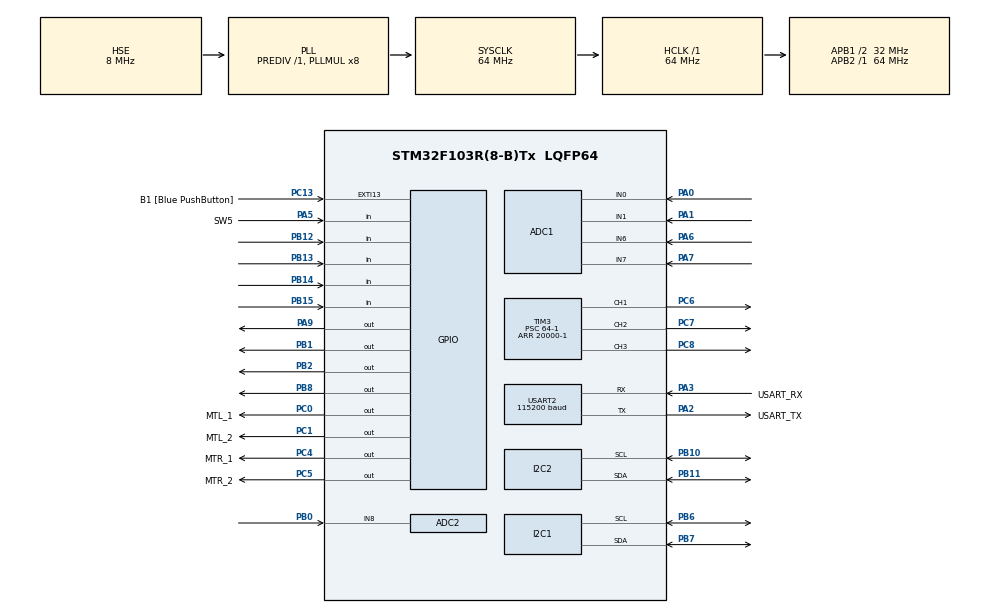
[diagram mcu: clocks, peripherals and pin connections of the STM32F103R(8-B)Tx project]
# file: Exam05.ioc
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ADC1.Channel-0\#ChannelRegularConversion=ADC_CHANNEL_6
ADC1.Channel-1\#ChannelRegularConversion=ADC_CHANNEL_7
ADC1.Channel-2\#ChannelRegularConversion=ADC_CHANNEL_0
ADC1.Channel-3\#ChannelRegularConversion=ADC_CHANNEL_1
ADC1.ContinuousConvMode=ENABLE
ADC1.NbrOfConversion=4
ADC1.NbrOfConversionFlag=1
ADC1.Rank-0\#ChannelRegularConversion=1
ADC1.Rank-1\#ChannelRegularConversion=2
ADC1.Rank-2\#ChannelRegularConversion=3
ADC1.Rank-3\#ChannelRegularConversion=4
ADC1.SamplingTime-0\#ChannelRegularConversion=ADC_SAMPLETIME_239CYCLES_5
ADC1.SamplingTime-1\#ChannelRegularConversion=ADC_SAMPLETIME_239CYCLES_5
ADC1.SamplingTime-2\#ChannelRegularConversion=ADC_SAMPLETIME_239CYCLES_5
ADC1.SamplingTime-3\#ChannelRegularConversion=ADC_SAMPLETIME_239CYCLES_5
ADC1.master=1
ADC2.Channel-0\#ChannelRegularConversion=ADC_CHANNEL_8
ADC2.ContinuousConvMode=ENABLE
ADC2.NbrOfConversionFlag=1
ADC2.Rank-0\#ChannelRegularConversion=1
ADC2.SamplingTime-0\#ChannelRegularConversion=ADC_SAMPLETIME_239CYCLES_5
Mcu.Family=STM32F1
Mcu.Name=STM32F103R(8-B)Tx
Mcu.Package=LQFP64
NVIC.EXTI15_10_IRQn=true\:0\:0\:false\:false\:true\:true\:true\:true
NVIC.PriorityGroup=NVIC_PRIORITYGROUP_4
NVIC.RTC_IRQn=true\:0\:0\:false\:false\:true\:true\:true\:true
NVIC.TIM4_IRQn=true\:0\:0\:false\:false\:true\:true\:true\:true
PA0-WKUP.Signal=ADCx_IN0
PA1.Signal=ADCx_IN1
PA13.GPIO_Label=TMS
PA13.Mode=Serial_Wire
PA13.Signal=SYS_JTMS-SWDIO
PA14.GPIO_Label=TCK
PA14.Mode=Serial_Wire
PA14.Signal=SYS_JTCK-SWCLK
PA2.GPIO_Label=USART_TX
PA2.GPIO_Mode=GPIO_MODE_AF_PP
PA2.GPIO_PuPd=GPIO_NOPULL
PA2.GPIO_Speed=GPIO_SPEED_FREQ_LOW
PA2.Mode=Asynchronous
PA2.Signal=USART2_TX
PA3.GPIO_Label=USART_RX
PA3.GPIO_Mode=GPIO_MODE_AF_PP
PA3.GPIO_PuPd=GPIO_NOPULL
PA3.GPIO_Speed=GPIO_SPEED_FREQ_LOW
PA3.Mode=Asynchronous
PA3.Signal=USART2_RX
PA5.GPIO_Label=SW5
PA5.Signal=GPIO_Input
PA6.Signal=ADCx_IN6
PA7.Signal=ADCx_IN7
PA9.Signal=GPIO_Output
PB0.Signal=ADCx_IN8
PB1.Signal=GPIO_Output
PB10.Mode=I2C
PB10.Signal=I2C2_SCL
PB11.Mode=I2C
PB11.Signal=I2C2_SDA
PB12.Signal=GPIO_Input
PB13.Signal=GPIO_Input
PB14.Signal=GPIO_Input
PB15.Signal=GPIO_Input
PB2.Signal=GPIO_Output
PB3.GPIO_Label=SWO
PB3.Signal=SYS_JTDO-TRACESWO
PB6.Mode=I2C
PB6.Signal=I2C1_SCL
PB7.Mode=I2C
PB7.Signal=I2C1_SDA
PB8.Signal=GPIO_Output
PC0.GPIO_Label=MTL_1
PC0.Signal=GPIO_Output
PC1.GPIO_Label=MTL_2
PC1.Signal=GPIO_Output
PC13-TAMPER-RTC.GPIO_Label=B1 [Blue PushButton]
PC13-TAMPER-RTC.GPIO_PuPd=GPIO_NOPULL
PC13-TAMPER-RTC.Signal=GPXTI13
PC14-OSC32_IN.Mode=LSE-External-Oscillator
PC14-OSC32_IN.Signal=RCC_OSC32_IN
PC15-OSC32_OUT.Mode=LSE-External-Oscillator
PC15-OSC32_OUT.Signal=RCC_OSC32_OUT
PC4.GPIO_Label=MTR_1
PC4.Signal=GPIO_Output
PC5.GPIO_Label=MTR_2
PC5.Signal=GPIO_Output
PC6.Signal=S_TIM3_CH1
PC7.Signal=S_TIM3_CH2
PC8.Signal=S_TIM3_CH3
PD0-OSC_IN.Mode=HSE-External-Clock-Source
PD0-OSC_IN.Signal=RCC_OSC_IN
PD1-OSC_OUT.Mode=HSE-External-Clock-Source
PD1-OSC_OUT.Signal=RCC_OSC_OUT
ProjectManager.HeapSize=0x200
ProjectManager.StackSize=0x400
ProjectManager.TargetToolchain=STM32CubeIDE
RCC.ADCPresc=RCC_ADCPCLK2_DIV8
RCC.AHBFreq_Value=64000000
RCC.APB1CLKDivider=RCC_HCLK_DIV2
RCC.APB1Freq_Value=32000000
RCC.APB1TimFreq_Value=64000000
RCC.APB2Freq_Value=64000000
RCC.APB2TimFreq_Value=64000000
RCC.HCLKFreq_Value=64000000
RCC.PLLMUL=RCC_PLL_MUL8
RCC.PLLSourceVirtual=RCC_PLLSOURCE_HSE
RCC.RTCClockSelection=RCC_RTCCLKSOURCE_LSE
RCC.SYSCLKFreq_VALUE=64000000
RCC.SYSCLKSource=RCC_SYSCLKSOURCE_PLLCLK
RCC.USBFreq_Value=64000000
RTC.Format=RTC_FORMAT_BIN
SH.ADCx_IN0.0=ADC1_IN0,IN0
SH.ADCx_IN1.0=ADC1_IN1,IN1
SH.ADCx_IN6.0=ADC1_IN6,IN6
SH.ADCx_IN7.0=ADC1_IN7,IN7
SH.ADCx_IN8.0=ADC2_IN8,IN8
SH.S_TIM3_CH1.0=TIM3_CH1,PWM Generation1 CH1
SH.S_TIM3_CH2.0=TIM3_CH2,PWM Generation2 CH2
SH.S_TIM3_CH3.0=TIM3_CH3,PWM Generation3 CH3
TIM2.Prescaler=64-1
TIM3.Channel-PWM\ Generation1\ CH1=TIM_CHANNEL_1
TIM3.Channel-PWM\ Generation2\ CH2=TIM_CHANNEL_2
TIM3.Channel-PWM\ Generation3\ CH3=TIM_CHANNEL_3
TIM3.Period=20000-1
TIM3.Prescaler=64-1
TIM4.Channel-Output\ Compare1\ No\ Output=TIM_CHANNEL_1
TIM4.Period=10000-1
TIM4.Prescaler=6400-1
USART2.BaudRate=115200
USART2.VirtualMode=VM_ASYNC
VP_RTC_VS_RTC_Activate.Mode=RTC_Enabled
VP_TIM2_VS_ClockSourceINT.Mode=Internal
VP_TIM3_VS_ClockSourceINT.Mode=Internal
VP_TIM4_VS_ClockSourceINT.Mode=Internal
VP_TIM4_VS_no_output1.Mode=Output Compare1 No Output
board=NUCLEO-F103RB

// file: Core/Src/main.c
/* USER CODE BEGIN Header */
/**
 ******************************************************************************
 * @file           : main.c
 * @brief          : Main program body
 ******************************************************************************
 * @attention
 *
 * Copyright (c) 2022 STMicroelectronics.
 * All rights reserved.
 *
 * This software is licensed under terms that can be found in the LICENSE file
 * in the root directory of this software component.
 * If no LICENSE file comes with this software, it is provided AS-IS.
 *
 ******************************************************************************
 */
/* USER CODE END Header */
#include "main.h"

/* USER CODE BEGIN Includes */
#include "stdio.h"
#include "i2c-lcd.h"
/* USER CODE END Includes */

ADC_HandleTypeDef hadc1;
ADC_HandleTypeDef hadc2;

I2C_HandleTypeDef hi2c1;
I2C_HandleTypeDef hi2c2;

RTC_HandleTypeDef hrtc;

TIM_HandleTypeDef htim2;
TIM_HandleTypeDef htim3;
TIM_HandleTypeDef htim4;

UART_HandleTypeDef huart2;

/* USER CODE BEGIN PV */
uint32_t joy_value[4];
uint32_t sv_value1 = 0;
uint32_t sv_value2 = 0;
uint32_t sv_value3 = 0;

uint8_t RH_integral;
uint8_t RH_decimal;
uint8_t T_inregral;
uint8_t T_decimal;
uint8_t CheckSUM;

char chr_RH_integral[5];
char chr_RH_decimal[5];
char chr_T_inregral[5];
char chr_T_decimal[5];

RTC_TimeTypeDef Time;
RTC_DateTypeDef Date;

char dateBuffer[5]; //YYYY-MM-DD
char timeBuffer[8];  //hh:mm:ss

float water = 0;

/* USER CODE END PV */

void SystemClock_Config(void);
static void MX_GPIO_Init(void);
static void MX_USART2_UART_Init(void);
static void MX_ADC1_Init(void);
static void MX_TIM3_Init(void);
static void MX_TIM2_Init(void);
static void MX_TIM4_Init(void);
static void MX_I2C1_Init(void);
static void MX_RTC_Init(void);
static void MX_I2C2_Init(void);
static void MX_ADC2_Init(void);
/* USER CODE BEGIN PFP */
#ifdef __GNUC__
/* With GCC, small printf (option LD Linker->Libraries->Small printf
 set to 'Yes') calls __io_putchar() */
#define PUTCHAR_PROTOTYPE int __io_putchar(int ch)
#else
#define PUTCHAR_PROTOTYPE int fputc(int ch, FILE *f)
#endif /* __GNUC__ */

PUTCHAR_PROTOTYPE {
	/* Place your implementation of fputc here */
	/* e.g. write a character to the USART1 and Loop until the end of transmission */
	HAL_UART_Transmit(&huart2, (uint8_t*) &ch, 1, 0xFFFF);

	return ch;
}

void us_delay(uint32_t delay) {
	//__HAL_TIM_SET_COUNTER(&htim2, 0);
	TIM2->CNT = 0;
	//while(__HAL_TIM_GET_COUNTER(&htim2) < delay);
	while (TIM2->CNT < delay)
		;
}

void Set_Pin_Output(GPIO_TypeDef *GPIOx, uint16_t GPIO_Pin) {
	GPIO_InitTypeDef GPIO_InitStruct = { 0 };
	GPIO_InitStruct.Pin = GPIO_Pin;
	GPIO_InitStruct.Mode = GPIO_MODE_OUTPUT_PP;
	GPIO_InitStruct.Speed = GPIO_SPEED_FREQ_LOW;
	HAL_GPIO_Init(GPIOx, &GPIO_InitStruct);
	//GPIOB->CRL |= ~(1 << 3 | 1 << 1 | 1 << 0);
	//GPIOB->CRL &= 1 << 2;
}

void Set_Pin_Input(GPIO_TypeDef *GPIOx, uint16_t GPIO_Pin) {
	GPIO_InitTypeDef GPIO_InitStruct = { 0 };
	GPIO_InitStruct.Pin = GPIO_Pin;
	GPIO_InitStruct.Mode = GPIO_MODE_INPUT;
	GPIO_InitStruct.Pull = GPIO_PULLUP;
	HAL_GPIO_Init(GPIOx, &GPIO_InitStruct);
	//GPIOB->CRL &= ~(1 << 2 | 1 << 1 | 1 << 0);
	//GPIOB->CRL |= 1 << 3;
}

void DHT11_Start(void) {
	Set_Pin_Output(GPIOA, GPIO_PIN_9);
	HAL_GPIO_WritePin(GPIOA, GPIO_PIN_9, GPIO_PIN_RESET);
	//HAL_Delay(18);
	us_delay(18000);
	HAL_GPIO_WritePin(GPIOA, GPIO_PIN_9, GPIO_PIN_SET);
	us_delay(20);
	Set_Pin_Input(GPIOA, GPIO_PIN_9);
}

uint8_t DHT11_Check_Response(void) {
	uint8_t Response = 0;
	us_delay(40);
	if (!(HAL_GPIO_ReadPin(GPIOA, GPIO_PIN_9))) {
		us_delay(80);
		if ((HAL_GPIO_ReadPin(GPIOA, GPIO_PIN_9)))
			Response = 1;
		else
			Response = -1;
	}
	while ((HAL_GPIO_ReadPin(GPIOA, GPIO_PIN_9)))
		;

	return Response;
}

uint8_t DHT11_Read(void) {
	uint8_t data;
	for (uint8_t i = 0; i < 8; i++) {
		while (!(HAL_GPIO_ReadPin(GPIOA, GPIO_PIN_9)))
			;
		us_delay(40);
		if (!(HAL_GPIO_ReadPin(GPIOA, GPIO_PIN_9))) {
			data = (data << 1);
		} else
			data = (data << 1) + 1;
		while ((HAL_GPIO_ReadPin(GPIOA, GPIO_PIN_9)))
			;
	}
	return data;
}

void set_Date_Time() {
	Date.WeekDay = 1;  // 1~7
	Date.Month = 5;  // 1~12
	Date.Date = 2;  // 1~31
	Date.Year = 22;  // 0~99
	while (HAL_RTC_SetDate(&hrtc, &Date, RTC_FORMAT_BIN) != HAL_OK)
		;
	Time.Hours = 16;  // 0~23
	Time.Minutes = 10;  // 0~59
	Time.Seconds = 00;   // 0~59
	while (HAL_RTC_SetTime(&hrtc, &Time, RTC_FORMAT_BIN) != HAL_OK)
		;
}
/* USER CODE END PFP */

int main(void) {

	/* MCU Configuration--------------------------------------------------------*/

	/* Reset of all peripherals, Initializes the Flash interface and the Systick. */
	HAL_Init();

	/* Configure the system clock */
	SystemClock_Config();

	/* Initialize all configured peripherals */
	MX_GPIO_Init();
	MX_USART2_UART_Init();
	MX_ADC1_Init();
	MX_TIM3_Init();
	MX_TIM2_Init();
	MX_TIM4_Init();
	MX_I2C1_Init();
	MX_RTC_Init();
	MX_I2C2_Init();
	MX_ADC2_Init();
	/* USER CODE BEGIN 2 */
	HAL_TIM_PWM_Start(&htim3, TIM_CHANNEL_1);
	HAL_TIM_PWM_Start(&htim3, TIM_CHANNEL_2);
	HAL_TIM_PWM_Start(&htim3, TIM_CHANNEL_3);
	HAL_TIM_Base_Start(&htim2);
	HAL_TIM_Base_Start_IT(&htim4);
	//__HAL_UART_ENABLE_IT(&huart2, UART_IT_RXNE);
	set_Date_Time();

	lcd_init();
	/* USER CODE END 2 */

	/* Infinite loop */
	/* USER CODE BEGIN WHILE */
	while (1) {
		HAL_ADC_Start(&hadc1);
		us_delay(10000);

		for (int i = 0; i < 4; i++) {

			HAL_ADC_PollForConversion(&hadc1, 10);
			joy_value[i] = HAL_ADC_GetValue(&hadc1);
			us_delay(5000);
		}

		HAL_ADC_Stop(&hadc1);

		uint32_t joy1x_value = joy_value[3];
		uint32_t joy1y_value = joy_value[0];
		uint32_t joy2x_value = joy_value[2];
		uint32_t joy2y_value = joy_value[1];

		/*printf(
		 "1X : %ld, 1Y : %ld 2X : %ld, 2Y : %ld sv1 : %ld sv2 : %ld sv3 : %ld  \r\n",
		 joy1x_value, joy1y_value, joy2x_value, joy2y_value, sv_value1,
		 sv_value2, sv_value3);*/

		us_delay(10000);

		HAL_ADC_Start(&hadc2);
		water = HAL_ADC_GetValue(&hadc2);

		if (water > 3000) {
			HAL_GPIO_WritePin(GPIOB, GPIO_PIN_8, 1);
		} else if (water < 3000) {
			HAL_GPIO_WritePin(GPIOB, GPIO_PIN_8, 0);
		} else {
			HAL_GPIO_WritePin(GPIOB, GPIO_PIN_8, 0);
		}

		if (16 < sv_value1 && 41 > sv_value1) {
			if (joy1y_value < 300) {
				sv_value1++;
				//HAL_Delay(10);
				__HAL_TIM_SET_COMPARE(&htim3, TIM_CHANNEL_1, sv_value1 * 50);

			} else if (joy1y_value > 4000) {
				sv_value1--;
				//HAL_Delay(10);
				__HAL_TIM_SET_COMPARE(&htim3, TIM_CHANNEL_1, sv_value1 * 50);
			}
		} else if (16 >= sv_value1)
			sv_value1++;
		else if (41 <= sv_value1)
			sv_value1--;

		if (17 < sv_value2 && 46 > sv_value2) {
			if (joy1x_value < 300) {
				sv_value2++;
				//HAL_Delay(10);
				__HAL_TIM_SET_COMPARE(&htim3, TIM_CHANNEL_2, sv_value2 * 50);

			} else if (joy1x_value > 4000) {
				sv_value2--;
				//HAL_Delay(10);
				__HAL_TIM_SET_COMPARE(&htim3, TIM_CHANNEL_2, sv_value2 * 50);
			}
		} else if (17 >= sv_value2)
			sv_value2++;
		else if (46 <= sv_value2)
			sv_value2--;

		if (14 < sv_value3 && 54 > sv_value3) {
			if (joy2x_value < 300) {
				sv_value3++;
				//HAL_Delay(10);
				__HAL_TIM_SET_COMPARE(&htim3, TIM_CHANNEL_3, sv_value3 * 50);

			} else if (joy2x_value > 4000) {
				sv_value3--;
				//HAL_Delay(10);
				__HAL_TIM_SET_COMPARE(&htim3, TIM_CHANNEL_3, sv_value3 * 50);
			}
		} else if (14 >= sv_value3)
			sv_value3++;
		else if (54 <= sv_value3)
			sv_value3--;

		if (HAL_GPIO_ReadPin(GPIOB, GPIO_PIN_15) == 0) {
			HAL_GPIO_WritePin(GPIOC, MTL_1_Pin, 1);
			HAL_GPIO_WritePin(GPIOC, MTR_1_Pin, 1);
		} else if (HAL_GPIO_ReadPin(GPIOB, GPIO_PIN_14) == 0) {
			HAL_GPIO_WritePin(GPIOC, MTL_2_Pin, 1);
			HAL_GPIO_WritePin(GPIOC, MTR_2_Pin, 1);
		} else if (HAL_GPIO_ReadPin(GPIOB, GPIO_PIN_13) == 0) {
			HAL_GPIO_WritePin(GPIOC, MTL_2_Pin, 1);
			HAL_GPIO_WritePin(GPIOC, MTR_1_Pin, 1);
		} else if (HAL_GPIO_ReadPin(GPIOB, GPIO_PIN_12) == 0) {
			HAL_GPIO_WritePin(GPIOC, MTL_1_Pin, 1);
			HAL_GPIO_WritePin(GPIOC, MTR_2_Pin, 1);
		} else {
			HAL_GPIO_WritePin(GPIOC, MTL_1_Pin, 0);
			HAL_GPIO_WritePin(GPIOC, MTR_1_Pin, 0);
			HAL_GPIO_WritePin(GPIOC, MTL_2_Pin, 0);
			HAL_GPIO_WritePin(GPIOC, MTR_2_Pin, 0);
		}

		/* USER CODE END WHILE */

	}
}

void SystemClock_Config(void) {
	RCC_OscInitTypeDef RCC_OscInitStruct = { 0 };
	RCC_ClkInitTypeDef RCC_ClkInitStruct = { 0 };
	RCC_PeriphCLKInitTypeDef PeriphClkInit = { 0 };

	/** Initializes the RCC Oscillators according to the specified parameters
	 * in the RCC_OscInitTypeDef structure.
	 */
	RCC_OscInitStruct.OscillatorType = RCC_OSCILLATORTYPE_HSE
			| RCC_OSCILLATORTYPE_LSE;
	RCC_OscInitStruct.HSEState = RCC_HSE_BYPASS;
	RCC_OscInitStruct.HSEPredivValue = RCC_HSE_PREDIV_DIV1;
	RCC_OscInitStruct.LSEState = RCC_LSE_ON;
	RCC_OscInitStruct.HSIState = RCC_HSI_ON;
	RCC_OscInitStruct.PLL.PLLState = RCC_PLL_ON;
	RCC_OscInitStruct.PLL.PLLSource = RCC_PLLSOURCE_HSE;
	RCC_OscInitStruct.PLL.PLLMUL = RCC_PLL_MUL8;
	if (HAL_RCC_OscConfig(&RCC_OscInitStruct) != HAL_OK) {
		Error_Handler();
	}

	/** Initializes the CPU, AHB and APB buses clocks
	 */
	RCC_ClkInitStruct.ClockType = RCC_CLOCKTYPE_HCLK | RCC_CLOCKTYPE_SYSCLK
			| RCC_CLOCKTYPE_PCLK1 | RCC_CLOCKTYPE_PCLK2;
	RCC_ClkInitStruct.SYSCLKSource = RCC_SYSCLKSOURCE_PLLCLK;
	RCC_ClkInitStruct.AHBCLKDivider = RCC_SYSCLK_DIV1;
	RCC_ClkInitStruct.APB1CLKDivider = RCC_HCLK_DIV2;
	RCC_ClkInitStruct.APB2CLKDivider = RCC_HCLK_DIV1;

	if (HAL_RCC_ClockConfig(&RCC_ClkInitStruct, FLASH_LATENCY_2) != HAL_OK) {
		Error_Handler();
	}
	PeriphClkInit.PeriphClockSelection = RCC_PERIPHCLK_RTC | RCC_PERIPHCLK_ADC;
	PeriphClkInit.RTCClockSelection = RCC_RTCCLKSOURCE_LSE;
	PeriphClkInit.AdcClockSelection = RCC_ADCPCLK2_DIV8;
	if (HAL_RCCEx_PeriphCLKConfig(&PeriphClkInit) != HAL_OK) {
		Error_Handler();
	}
}

static void MX_ADC1_Init(void) {

	ADC_ChannelConfTypeDef sConfig = { 0 };

	/** Common config
	 */
	hadc1.Instance = ADC1;
	hadc1.Init.ScanConvMode = ADC_SCAN_ENABLE;
	hadc1.Init.ContinuousConvMode = ENABLE;
	hadc1.Init.DiscontinuousConvMode = DISABLE;
	hadc1.Init.ExternalTrigConv = ADC_SOFTWARE_START;
	hadc1.Init.DataAlign = ADC_DATAALIGN_RIGHT;
	hadc1.Init.NbrOfConversion = 4;
	if (HAL_ADC_Init(&hadc1) != HAL_OK) {
		Error_Handler();
	}

	/** Configure Regular Channel
	 */
	sConfig.Channel = ADC_CHANNEL_6;
	sConfig.Rank = ADC_REGULAR_RANK_1;
	sConfig.SamplingTime = ADC_SAMPLETIME_239CYCLES_5;
	if (HAL_ADC_ConfigChannel(&hadc1, &sConfig) != HAL_OK) {
		Error_Handler();
	}

	/** Configure Regular Channel
	 */
	sConfig.Channel = ADC_CHANNEL_7;
	sConfig.Rank = ADC_REGULAR_RANK_2;
	if (HAL_ADC_ConfigChannel(&hadc1, &sConfig) != HAL_OK) {
		Error_Handler();
	}

	/** Configure Regular Channel
	 */
	sConfig.Channel = ADC_CHANNEL_0;
	sConfig.Rank = ADC_REGULAR_RANK_3;
	if (HAL_ADC_ConfigChannel(&hadc1, &sConfig) != HAL_OK) {
		Error_Handler();
	}

	/** Configure Regular Channel
	 */
	sConfig.Channel = ADC_CHANNEL_1;
	sConfig.Rank = ADC_REGULAR_RANK_4;
	if (HAL_ADC_ConfigChannel(&hadc1, &sConfig) != HAL_OK) {
		Error_Handler();
	}

}

static void MX_ADC2_Init(void) {

	ADC_ChannelConfTypeDef sConfig = { 0 };

	/** Common config
	 */
	hadc2.Instance = ADC2;
	hadc2.Init.ScanConvMode = ADC_SCAN_DISABLE;
	hadc2.Init.ContinuousConvMode = ENABLE;
	hadc2.Init.DiscontinuousConvMode = DISABLE;
	hadc2.Init.ExternalTrigConv = ADC_SOFTWARE_START;
	hadc2.Init.DataAlign = ADC_DATAALIGN_RIGHT;
	hadc2.Init.NbrOfConversion = 1;
	if (HAL_ADC_Init(&hadc2) != HAL_OK) {
		Error_Handler();
	}

	/** Configure Regular Channel
	 */
	sConfig.Channel = ADC_CHANNEL_8;
	sConfig.Rank = ADC_REGULAR_RANK_1;
	sConfig.SamplingTime = ADC_SAMPLETIME_239CYCLES_5;
	if (HAL_ADC_ConfigChannel(&hadc2, &sConfig) != HAL_OK) {
		Error_Handler();
	}

}

static void MX_I2C1_Init(void) {

	hi2c1.Instance = I2C1;
	hi2c1.Init.ClockSpeed = 100000;
	hi2c1.Init.DutyCycle = I2C_DUTYCYCLE_2;
	hi2c1.Init.OwnAddress1 = 0;
	hi2c1.Init.AddressingMode = I2C_ADDRESSINGMODE_7BIT;
	hi2c1.Init.DualAddressMode = I2C_DUALADDRESS_DISABLE;
	hi2c1.Init.OwnAddress2 = 0;
	hi2c1.Init.GeneralCallMode = I2C_GENERALCALL_DISABLE;
	hi2c1.Init.NoStretchMode = I2C_NOSTRETCH_DISABLE;
	if (HAL_I2C_Init(&hi2c1) != HAL_OK) {
		Error_Handler();
	}

}

static void MX_I2C2_Init(void) {

	hi2c2.Instance = I2C2;
	hi2c2.Init.ClockSpeed = 100000;
	hi2c2.Init.DutyCycle = I2C_DUTYCYCLE_2;
	hi2c2.Init.OwnAddress1 = 0;
	hi2c2.Init.AddressingMode = I2C_ADDRESSINGMODE_7BIT;
	hi2c2.Init.DualAddressMode = I2C_DUALADDRESS_DISABLE;
	hi2c2.Init.OwnAddress2 = 0;
	hi2c2.Init.GeneralCallMode = I2C_GENERALCALL_DISABLE;
	hi2c2.Init.NoStretchMode = I2C_NOSTRETCH_DISABLE;
	if (HAL_I2C_Init(&hi2c2) != HAL_OK) {
		Error_Handler();
	}

}

static void MX_RTC_Init(void) {

	/** Initialize RTC Only
	 */
	hrtc.Instance = RTC;
	hrtc.Init.AsynchPrediv = RTC_AUTO_1_SECOND;
	hrtc.Init.OutPut = RTC_OUTPUTSOURCE_ALARM;
	if (HAL_RTC_Init(&hrtc) != HAL_OK) {
		Error_Handler();
	}

}

static void MX_TIM2_Init(void) {

	TIM_ClockConfigTypeDef sClockSourceConfig = { 0 };
	TIM_MasterConfigTypeDef sMasterConfig = { 0 };

	htim2.Instance = TIM2;
	htim2.Init.Prescaler = 64 - 1;
	htim2.Init.CounterMode = TIM_COUNTERMODE_UP;
	htim2.Init.Period = 65535;
	htim2.Init.ClockDivision = TIM_CLOCKDIVISION_DIV1;
	htim2.Init.AutoReloadPreload = TIM_AUTORELOAD_PRELOAD_DISABLE;
	if (HAL_TIM_Base_Init(&htim2) != HAL_OK) {
		Error_Handler();
	}
	sClockSourceConfig.ClockSource = TIM_CLOCKSOURCE_INTERNAL;
	if (HAL_TIM_ConfigClockSource(&htim2, &sClockSourceConfig) != HAL_OK) {
		Error_Handler();
	}
	sMasterConfig.MasterOutputTrigger = TIM_TRGO_RESET;
	sMasterConfig.MasterSlaveMode = TIM_MASTERSLAVEMODE_DISABLE;
	if (HAL_TIMEx_MasterConfigSynchronization(&htim2, &sMasterConfig)
			!= HAL_OK) {
		Error_Handler();
	}

}

static void MX_TIM3_Init(void) {

	TIM_ClockConfigTypeDef sClockSourceConfig = { 0 };
	TIM_MasterConfigTypeDef sMasterConfig = { 0 };
	TIM_OC_InitTypeDef sConfigOC = { 0 };

	htim3.Instance = TIM3;
	htim3.Init.Prescaler = 64 - 1;
	htim3.Init.CounterMode = TIM_COUNTERMODE_UP;
	htim3.Init.Period = 20000 - 1;
	htim3.Init.ClockDivision = TIM_CLOCKDIVISION_DIV1;
	htim3.Init.AutoReloadPreload = TIM_AUTORELOAD_PRELOAD_DISABLE;
	if (HAL_TIM_Base_Init(&htim3) != HAL_OK) {
		Error_Handler();
	}
	sClockSourceConfig.ClockSource = TIM_CLOCKSOURCE_INTERNAL;
	if (HAL_TIM_ConfigClockSource(&htim3, &sClockSourceConfig) != HAL_OK) {
		Error_Handler();
	}
	if (HAL_TIM_PWM_Init(&htim3) != HAL_OK) {
		Error_Handler();
	}
	sMasterConfig.MasterOutputTrigger = TIM_TRGO_RESET;
	sMasterConfig.MasterSlaveMode = TIM_MASTERSLAVEMODE_DISABLE;
	if (HAL_TIMEx_MasterConfigSynchronization(&htim3, &sMasterConfig)
			!= HAL_OK) {
		Error_Handler();
	}
	sConfigOC.OCMode = TIM_OCMODE_PWM1;
	sConfigOC.Pulse = 0;
	sConfigOC.OCPolarity = TIM_OCPOLARITY_HIGH;
	sConfigOC.OCFastMode = TIM_OCFAST_DISABLE;
	if (HAL_TIM_PWM_ConfigChannel(&htim3, &sConfigOC, TIM_CHANNEL_1)
			!= HAL_OK) {
		Error_Handler();
	}
	if (HAL_TIM_PWM_ConfigChannel(&htim3, &sConfigOC, TIM_CHANNEL_2)
			!= HAL_OK) {
		Error_Handler();
	}
	if (HAL_TIM_PWM_ConfigChannel(&htim3, &sConfigOC, TIM_CHANNEL_3)
			!= HAL_OK) {
		Error_Handler();
	}
	HAL_TIM_MspPostInit(&htim3);

}

static void MX_TIM4_Init(void) {

	TIM_ClockConfigTypeDef sClockSourceConfig = { 0 };
	TIM_MasterConfigTypeDef sMasterConfig = { 0 };
	TIM_OC_InitTypeDef sConfigOC = { 0 };

	htim4.Instance = TIM4;
	htim4.Init.Prescaler = 6400 - 1;
	htim4.Init.CounterMode = TIM_COUNTERMODE_UP;
	htim4.Init.Period = 10000 - 1;
	htim4.Init.ClockDivision = TIM_CLOCKDIVISION_DIV1;
	htim4.Init.AutoReloadPreload = TIM_AUTORELOAD_PRELOAD_DISABLE;
	if (HAL_TIM_Base_Init(&htim4) != HAL_OK) {
		Error_Handler();
	}
	sClockSourceConfig.ClockSource = TIM_CLOCKSOURCE_INTERNAL;
	if (HAL_TIM_ConfigClockSource(&htim4, &sClockSourceConfig) != HAL_OK) {
		Error_Handler();
	}
	if (HAL_TIM_OC_Init(&htim4) != HAL_OK) {
		Error_Handler();
	}
	sMasterConfig.MasterOutputTrigger = TIM_TRGO_RESET;
	sMasterConfig.MasterSlaveMode = TIM_MASTERSLAVEMODE_DISABLE;
	if (HAL_TIMEx_MasterConfigSynchronization(&htim4, &sMasterConfig)
			!= HAL_OK) {
		Error_Handler();
	}
	sConfigOC.OCMode = TIM_OCMODE_TIMING;
	sConfigOC.Pulse = 0;
	sConfigOC.OCPolarity = TIM_OCPOLARITY_HIGH;
	sConfigOC.OCFastMode = TIM_OCFAST_DISABLE;
	if (HAL_TIM_OC_ConfigChannel(&htim4, &sConfigOC, TIM_CHANNEL_1) != HAL_OK) {
		Error_Handler();
	}

}

static void MX_USART2_UART_Init(void) {

	huart2.Instance = USART2;
	huart2.Init.BaudRate = 115200;
	huart2.Init.WordLength = UART_WORDLENGTH_8B;
	huart2.Init.StopBits = UART_STOPBITS_1;
	huart2.Init.Parity = UART_PARITY_NONE;
	huart2.Init.Mode = UART_MODE_TX_RX;
	huart2.Init.HwFlowCtl = UART_HWCONTROL_NONE;
	huart2.Init.OverSampling = UART_OVERSAMPLING_16;
	if (HAL_UART_Init(&huart2) != HAL_OK) {
		Error_Handler();
	}

}

static void MX_GPIO_Init(void) {
	GPIO_InitTypeDef GPIO_InitStruct = { 0 };

	/* GPIO Ports Clock Enable */
	__HAL_RCC_GPIOC_CLK_ENABLE();
	__HAL_RCC_GPIOD_CLK_ENABLE();
	__HAL_RCC_GPIOA_CLK_ENABLE();
	__HAL_RCC_GPIOB_CLK_ENABLE();

	/*Configure GPIO pin Output Level */
	HAL_GPIO_WritePin(GPIOC, MTL_1_Pin | MTL_2_Pin | MTR_1_Pin | MTR_2_Pin,
			GPIO_PIN_RESET);

	/*Configure GPIO pin Output Level */
	HAL_GPIO_WritePin(GPIOB, GPIO_PIN_1 | GPIO_PIN_2 | GPIO_PIN_8,
			GPIO_PIN_RESET);

	/*Configure GPIO pin Output Level */
	HAL_GPIO_WritePin(GPIOA, GPIO_PIN_9, GPIO_PIN_RESET);

	/*Configure GPIO pin : B1_Pin */
	GPIO_InitStruct.Pin = B1_Pin;
	GPIO_InitStruct.Mode = GPIO_MODE_IT_RISING;
	GPIO_InitStruct.Pull = GPIO_NOPULL;
	HAL_GPIO_Init(B1_GPIO_Port, &GPIO_InitStruct);

	/*Configure GPIO pins : MTL_1_Pin MTL_2_Pin MTR_1_Pin MTR_2_Pin */
	GPIO_InitStruct.Pin = MTL_1_Pin | MTL_2_Pin | MTR_1_Pin | MTR_2_Pin;
	GPIO_InitStruct.Mode = GPIO_MODE_OUTPUT_PP;
	GPIO_InitStruct.Pull = GPIO_NOPULL;
	GPIO_InitStruct.Speed = GPIO_SPEED_FREQ_LOW;
	HAL_GPIO_Init(GPIOC, &GPIO_InitStruct);

	/*Configure GPIO pin : SW5_Pin */
	GPIO_InitStruct.Pin = SW5_Pin;
	GPIO_InitStruct.Mode = GPIO_MODE_INPUT;
	GPIO_InitStruct.Pull = GPIO_NOPULL;
	HAL_GPIO_Init(SW5_GPIO_Port, &GPIO_InitStruct);

	/*Configure GPIO pins : PB1 PB2 PB8 */
	GPIO_InitStruct.Pin = GPIO_PIN_1 | GPIO_PIN_2 | GPIO_PIN_8;
	GPIO_InitStruct.Mode = GPIO_MODE_OUTPUT_PP;
	GPIO_InitStruct.Pull = GPIO_NOPULL;
	GPIO_InitStruct.Speed = GPIO_SPEED_FREQ_LOW;
	HAL_GPIO_Init(GPIOB, &GPIO_InitStruct);

	/*Configure GPIO pins : PB12 PB13 PB14 PB15 */
	GPIO_InitStruct.Pin = GPIO_PIN_12 | GPIO_PIN_13 | GPIO_PIN_14 | GPIO_PIN_15;
	GPIO_InitStruct.Mode = GPIO_MODE_INPUT;
	GPIO_InitStruct.Pull = GPIO_NOPULL;
	HAL_GPIO_Init(GPIOB, &GPIO_InitStruct);

	/*Configure GPIO pin : PA9 */
	GPIO_InitStruct.Pin = GPIO_PIN_9;
	GPIO_InitStruct.Mode = GPIO_MODE_OUTPUT_PP;
	GPIO_InitStruct.Pull = GPIO_NOPULL;
	GPIO_InitStruct.Speed = GPIO_SPEED_FREQ_LOW;
	HAL_GPIO_Init(GPIOA, &GPIO_InitStruct);

	/* EXTI interrupt init*/
	HAL_NVIC_SetPriority(EXTI15_10_IRQn, 0, 0);
	HAL_NVIC_EnableIRQ(EXTI15_10_IRQn);

}

/* USER CODE BEGIN 4 */
void HAL_TIM_PeriodElapsedCallback(TIM_HandleTypeDef *htim) {

	DHT11_Start();
	DHT11_Check_Response();

	RH_integral = DHT11_Read();
	RH_decimal = DHT11_Read();
	T_inregral = DHT11_Read();
	T_decimal = DHT11_Read();
	CheckSUM = DHT11_Read();

	/*if ((RH_integral + RH_decimal + T_inregral + T_decimal) == CheckSUM) {
	 printf("Temperature : %d.%d 'C\n", T_inregral, T_decimal);
	 printf("Humidity    : %d.%d %%\n", RH_integral, RH_decimal);
	 } else {
	 printf("DHT11 Error\n");
	 }*/

	sprintf(chr_RH_integral, "%d", RH_integral);
	sprintf(chr_RH_decimal, "%d", RH_decimal);
	sprintf(chr_T_inregral, "%d", T_inregral);
	sprintf(chr_T_decimal, "%d", T_decimal);

	/*if (__HAL_RTC_SECOND_GET_FLAG(&hrtc, RTC_FLAG_SEC) == SET) {
	 __HAL_RTC_SECOND_CLEAR_FLAG(&hrtc, RTC_FLAG_SEC); //RTC->CRL &= ~0x01;  // Second flag clear*/
	while (HAL_RTC_GetTime(&hrtc, &Time, RTC_FORMAT_BIN) != HAL_OK)
		;
	while (HAL_RTC_GetDate(&hrtc, &Date, RTC_FORMAT_BIN) != HAL_OK)
		;
	//printf("%02d/%02d ", Date.Month, Date.Date);
	//printf("%02d:%02d:%02d \r\n", Time.Hours, Time.Minutes, Time.Seconds);
	//}

	sprintf(dateBuffer, "%02d-%02d", Date.Month, Date.Date);
	sprintf(timeBuffer, "%02d:%02d:%02d", Time.Hours, Time.Minutes,
			Time.Seconds);

	lcd_put_cur(0, 1);
	lcd_send_string(dateBuffer);

	lcd_put_cur(0, 7);
	lcd_send_string(timeBuffer);

	lcd_put_cur(1, 0);
	lcd_send_string("Tem:");
	lcd_put_cur(1, 4);
	lcd_send_string(chr_T_inregral);
	lcd_put_cur(1, 6);
	lcd_send_string(".");
	lcd_put_cur(1, 7);
	lcd_send_string(chr_T_decimal);

	lcd_put_cur(1, 8);
	lcd_send_string("Hum:");
	lcd_put_cur(1, 12);
	lcd_send_string(chr_RH_integral);
	lcd_put_cur(1, 14);
	lcd_send_string(".");
	lcd_put_cur(1, 15);
	lcd_send_string(chr_RH_decimal);

}

/* USER CODE END 4 */

void Error_Handler(void) {
	__disable_irq();
	while (1) {
	}
}
